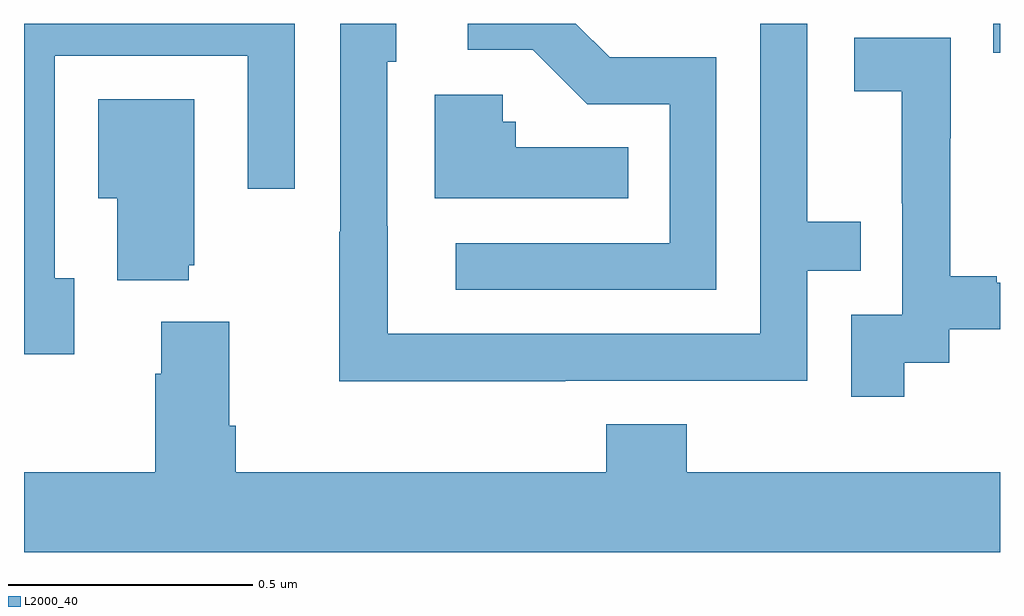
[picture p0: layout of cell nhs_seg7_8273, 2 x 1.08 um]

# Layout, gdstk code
import gdstk
lib = gdstk.Library(unit=1e-6, precision=1e-09)
def R(c, l, rs):  # rectangles x0, y0, x1, y1
    for r in rs: c.add(gdstk.rectangle(r[:2], r[2:], *l))
def P(c, l, *ps):  # polygons
    for p in ps: c.add(gdstk.Polygon(p, *l))
L2000_40 = (2000, 40)

nhs_seg7_8273 = lib.new_cell('nhs_seg7_8273')
R(nhs_seg7_8273, L2000_40, [(223.986,1034.94,224,1035)])
P(nhs_seg7_8273, L2000_40, [(223.419,1034.931),(223.2,1034.931),(223.131,1035),(222.909,1035),(222.909,1034.946),(223.043,1034.946),(223.154,1034.835),(223.323,1034.835),(223.323,1034.55),(222.885,1034.55),(222.885,1034.454),(223.419,1034.454)],
  [(223.109,1034.268),(223.605,1034.268),(223.605,1034.493),(223.715,1034.493),(223.715,1034.594),(223.605,1034.594),(223.605,1035),(223.509,1035),(223.509,1034.364),(222.745,1034.364),(222.745,1034.585),(222.744,1034.585),(222.744,1034.922),(222.763,1034.922),(222.763,1035),(222.648,1035),(222.648,1034.573),(222.646,1034.573),(222.646,1034.267),(223.109,1034.267)],
  [(222.103,1034.478),(222.063,1034.478),(222.063,1034.934),(222.459,1034.934),(222.459,1034.661),(222.555,1034.661),(222.555,1035),(222,1035),(222,1034.322),(222.103,1034.322)],
  [(223.804,1034.305),(223.896,1034.305),(223.896,1034.373),(224,1034.373),(224,1034.469),(223.993,1034.469),(223.993,1034.482),(223.898,1034.482),(223.898,1034.765),(223.899,1034.765),(223.899,1034.971),(223.701,1034.971),(223.701,1034.861),(223.799,1034.861),(223.799,1034.632),(223.8,1034.632),(223.8,1034.403),(223.695,1034.403),(223.695,1034.235),(223.804,1034.235)],
  [(223.238,1034.746),(223.008,1034.746),(223.008,1034.799),(222.981,1034.799),(222.981,1034.854),(222.842,1034.854),(222.842,1034.642),(223.238,1034.642)],
  [(222.338,1034.505),(222.349,1034.505),(222.349,1034.845),(222.152,1034.845),(222.152,1034.642),(222.191,1034.642),(222.191,1034.474),(222.338,1034.474)],
  [(224,1034.08),(223.358,1034.08),(223.358,1034.179),(223.193,1034.179),(223.193,1034.08),(222.434,1034.08),(222.434,1034.176),(222.421,1034.176),(222.421,1034.389),(222.281,1034.389),(222.281,1034.282),(222.269,1034.282),(222.269,1034.08),(222,1034.08),(222,1033.916),(224,1033.916)])

lib.write_gds('nhs_seg7_8273.gds')
